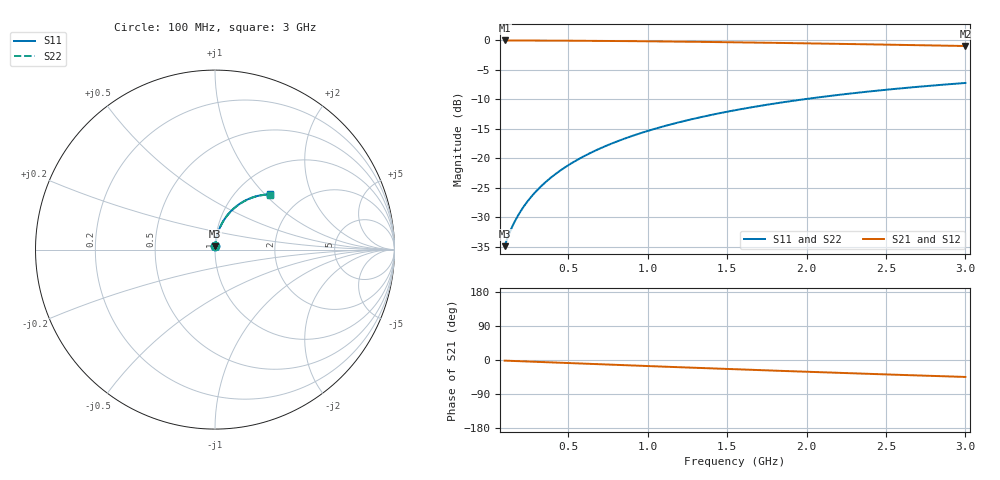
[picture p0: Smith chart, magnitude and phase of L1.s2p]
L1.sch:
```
<Qucs Schematic 24.2.0>
<Properties>
  <View=273,208,638,410,4.26301,0,0>
  <Grid=10,10,1>
  <DataSet=L1.dat>
  <DataDisplay=L1.dpl>
  <OpenDisplay=0>
  <Script=L1.m>
  <RunScript=0>
  <showFrame=0>
  <FrameText0=Title>
  <FrameText1=Drawn By:>
  <FrameText2=Date:>
  <FrameText3=Revision:>
</Properties>
<Symbol>
  <Line -20 -20 10 0 #000080 2 1>
  <.PortSym -20 -20 1 0>
  <Rectangle 20 -90 10 80 #000000 1 1 #ffaa00 1 1>
  <Rectangle 50 -90 10 140 #000000 1 1 #ffaa00 1 1>
  <Rectangle -10 -30 40 20 #000000 1 1 #ffaa00 1 1>
  <Rectangle 20 -90 40 10 #000000 1 1 #ffaa00 1 1>
  <Rectangle 50 40 40 10 #000000 1 1 #ffaa00 1 1>
  <Rectangle 80 -90 10 140 #000000 1 1 #ffaa00 1 1>
  <Rectangle 80 -90 40 10 #000000 1 1 #ffaa00 1 1>
  <Rectangle 110 -90 10 140 #000000 1 1 #ffaa00 1 1>
  <Rectangle 110 40 40 10 #000000 1 1 #ffaa00 1 1>
  <Rectangle 140 -30 10 80 #000000 1 1 #ffaa00 1 1>
  <Rectangle 140 -30 40 20 #000000 1 1 #ffaa00 1 1>
  <Line 180 -20 10 0 #000080 2 1>
  <.PortSym 190 -20 2 180>
  <.ID 50 64 L3n5>
</Symbol>
<Components>
  <SPfile X1 1 430 310 -26 -56 0 0 "L1.s2p" 1 "rectangular" 0 "linear" 0 "open" 0 "2" 0>
  <GND * 1 430 340 0 0 0 0>
  <Port P2 1 540 310 4 -48 0 2 "2" 1 "analog" 0 "v" 0 "" 0>
  <Port P1 1 340 310 -23 12 0 0 "1" 1 "analog" 0 "v" 0 "" 0>
</Components>
<Wires>
  <460 310 540 310 "" 0 0 0 "">
  <340 310 400 310 "" 0 0 0 "">
</Wires>
<Diagrams>
</Diagrams>
<Paintings>
</Paintings>
```
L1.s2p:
! Sonnet Data File
! From: sonnet Version : 18.53-Lite
! From Emgraph Data:
! Data File Written: 04/06/2024 10:38:45
!< HDATE 04/06/2024 10:38:13
!< MDATE 04/06/2024 10:38:13
# GHZ S MA R 50.00000
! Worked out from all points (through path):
!   291 points, 100 MHz to 3 GHz, reference 50 ohm
!   highest |S21| = -0.01 dB at 100 MHz (marker M1); lowest = -0.9 dB at 3 GHz (marker M2)
!   group delay of S21, straight-line fit = 41.4 ps
!   lowest |S11| = -34.9 dB at 100 MHz (marker M3), VSWR 1.04, Z = 50.1 + j1.8 ohm
!   |S11| at or under -10 dB: start of sweep to 1.979 GHz
!   |S22| runs from -34.9 to -7.2 dB; largest |S21 - S12| = 2e-13
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0.1  0.01799 86.2  0.9991 -1.6  0.9991 -1.6  0.01799 86.2
0.13  0.02324 86.0  0.9989 -2.1  0.9989 -2.1  0.02324 86.0
0.17  0.03022 85.6  0.9987 -2.8  0.9987 -2.8  0.03022 85.6
0.26  0.0459 84.5  0.9978 -4.2  0.9978 -4.2  0.0459 84.4
0.38  0.06668 82.7  0.9964 -6.1  0.9964 -6.1  0.06667 82.7
0.53  0.09241 80.5  0.9941 -8.5  0.9941 -8.5  0.09241 80.5
0.72  0.1245 77.6  0.9902 -11.6  0.9902 -11.6  0.1245 77.6
0.95  0.1625 74.1  0.9844 -15.2  0.9844 -15.2  0.1625 74.0
1.55  0.2558 65.1  0.9639 -24.4  0.9639 -24.4  0.2558 65.0
2.2  0.345 55.8  0.9354 -33.9  0.9354 -33.9  0.345 55.6
3  0.4356 45.0  0.8964 -44.7  0.8964 -44.7  0.4356 44.8
